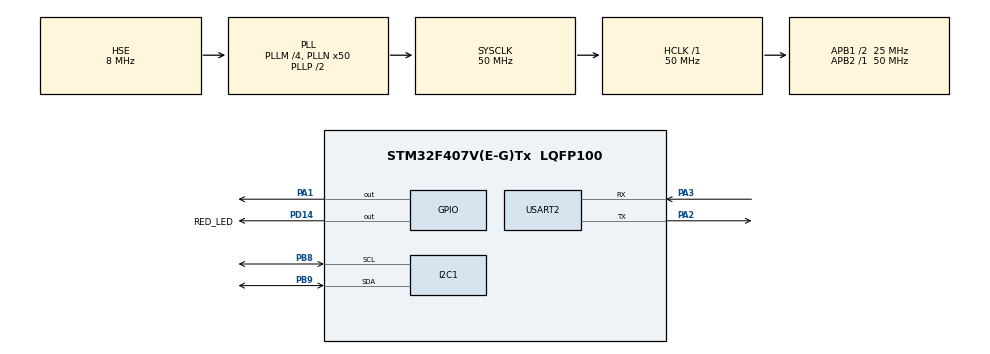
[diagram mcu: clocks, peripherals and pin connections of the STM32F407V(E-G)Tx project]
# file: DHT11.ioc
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Mcu.Family=STM32F4
Mcu.Name=STM32F407V(E-G)Tx
Mcu.Package=LQFP100
NVIC.PriorityGroup=NVIC_PRIORITYGROUP_4
NVIC.TIM7_IRQn=true\:15\:0\:false\:false\:true\:false\:true\:true
NVIC.TimeBase=TIM7_IRQn
NVIC.TimeBaseIP=TIM7
PA1.Signal=GPIO_Output
PA13.Mode=Serial_Wire
PA13.Signal=SYS_JTMS-SWDIO
PA14.Mode=Serial_Wire
PA14.Signal=SYS_JTCK-SWCLK
PA2.Mode=Asynchronous
PA2.Signal=USART2_TX
PA3.Mode=Asynchronous
PA3.Signal=USART2_RX
PB8.Mode=I2C
PB8.Signal=I2C1_SCL
PB9.Mode=I2C
PB9.Signal=I2C1_SDA
PD14.GPIO_Label=RED_LED
PD14.Signal=GPIO_Output
PH0-OSC_IN.Mode=HSE-External-Oscillator
PH0-OSC_IN.Signal=RCC_OSC_IN
PH1-OSC_OUT.Mode=HSE-External-Oscillator
PH1-OSC_OUT.Signal=RCC_OSC_OUT
ProjectManager.HeapSize=0x200
ProjectManager.StackSize=0x400
ProjectManager.TargetToolchain=STM32CubeIDE
RCC.48MHZClocksFreq_Value=25000000
RCC.AHBFreq_Value=50000000
RCC.APB1CLKDivider=RCC_HCLK_DIV2
RCC.APB1Freq_Value=25000000
RCC.APB1TimFreq_Value=50000000
RCC.APB2Freq_Value=50000000
RCC.APB2TimFreq_Value=50000000
RCC.CortexFreq_Value=50000000
RCC.HCLKFreq_Value=50000000
RCC.HSE_VALUE=8000000
RCC.HSI_VALUE=16000000
RCC.LSE_VALUE=32768
RCC.PLLM=4
RCC.PLLN=50
RCC.PLLSourceVirtual=RCC_PLLSOURCE_HSE
RCC.SYSCLKFreq_VALUE=50000000
RCC.SYSCLKSource=RCC_SYSCLKSOURCE_PLLCLK
RCC.VCOOutputFreq_Value=100000000
TIM6.Prescaler=50-1
USART2.VirtualMode=VM_ASYNC
VP_SYS_VS_tim7.Mode=TIM7
VP_TIM6_VS_ClockSourceINT.Mode=Enable_Timer
board=custom

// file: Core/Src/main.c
/* USER CODE BEGIN Header */
/**
  ****************************************************************************
  * @file           : main.c
  * @brief          : Main program body
  ****************************************************************************
  */
/* USER CODE END Header */
#include "main.h"

/* USER CODE BEGIN Includes */
#include "stdio.h"
#include "stm32f4xx_hal.h"
#include "liquidcrystal_i2c.h"
#include "dht11.h"
#include "FreeRTOS.h"
#include "task.h"
#include "semphr.h"
/* USER CODE END Includes */

I2C_HandleTypeDef hi2c1;

TIM_HandleTypeDef htim6;

UART_HandleTypeDef huart2;

/* USER CODE BEGIN PV */
//mutex lock
int g_temp = 0;
int g_humi = 0;
//mutex lock
SemaphoreHandle_t xDataMutex;
DHT11_DataTypedef dht11_data;
uint8_t result, Presence;
/* USER CODE END PV */

void SystemClock_Config(void);
static void MX_GPIO_Init(void);
static void MX_TIM6_Init(void);
static void MX_USART2_UART_Init(void);
static void MX_I2C1_Init(void);
/* USER CODE BEGIN PFP */
void DHT11Task(void *pvParameters);
void LCDTask(void *pvParameters);
void UARTTask(void *pvParameters);
void AlertTask(void *pvParameters);
/* USER CODE END PFP */

/* USER CODE BEGIN 0 */
uint8_t temp_threshold = 30;
uint8_t humi_threshold = 70;
/* USER CODE END 0 */

int main(void)
{

  /* MCU Configuration--------------------------------------------------------*/

  /* Reset of all peripherals, Initializes the Flash interface and the Systick. */
  HAL_Init();

  /* Configure the system clock */
  SystemClock_Config();

  /* Initialize all configured peripherals */
  MX_GPIO_Init();
  MX_TIM6_Init();
  MX_USART2_UART_Init();
  MX_I2C1_Init();
  /* USER CODE BEGIN 2 */
  HAL_TIM_Base_Start(&htim6);

  /* 關鍵修正：確保 UART 完全初始化 */
  HAL_Delay(100);

  /* 初始化 LCD（一次） */
  HD44780_Init(2);
  HD44780_Clear();
  HD44780_Backlight();

  char uart_buf[100];
  char lcd_temp[100];
  char lcd_humi[100];
  char lcd_buf[100];
  int uart_buf_len;

  /* 發送啟動訊息 - 測試 UART 是否正常 */
  uart_buf_len = sprintf(uart_buf, "\r\n=== STM32 DHT11 Started ===\r\n");
  HD44780_SetCursor(0,0);
  HD44780_PrintStr("DHT11 Start");
  HAL_UART_Transmit(&huart2, (uint8_t*)uart_buf, uart_buf_len, HAL_MAX_DELAY);

  /* 關鍵修正：DHT11 初始化序列 */
  uart_buf_len = sprintf(uart_buf, "Initializing DHT11...\r\n");
  HD44780_SetCursor(0,1);
  HD44780_PrintStr("Initializing");
  HAL_UART_Transmit(&huart2, (uint8_t*)uart_buf, uart_buf_len, HAL_MAX_DELAY);

  /* 確保 DHT11 引腳狀態正確 */
  Set_Pin_Output(DHT11_PORT, DHT11_PIN);
  HAL_GPIO_WritePin(DHT11_PORT, DHT11_PIN, 1);  // 確保高電平
  HAL_Delay(1000);  // 等待 DHT11 穩定

  uart_buf_len = sprintf(uart_buf, "DHT11 initialization complete\r\n");
  HAL_UART_Transmit(&huart2, (uint8_t*)uart_buf, uart_buf_len, HAL_MAX_DELAY);

  // 建立互斥鎖
  xDataMutex = xSemaphoreCreateMutex();

  // 建 DHT11Task
  xTaskCreate(DHT11Task, "DHT11", 128, NULL, 2, NULL);
  // 建立 LCDTask
  xTaskCreate(LCDTask, "LCD", 128, NULL, 1, NULL);
  // 建立 UARTTask
  xTaskCreate(UARTTask, "UART", 128, NULL, 1, NULL);
  /* 建立紅燈警示 Task */
  xTaskCreate(AlertTask, "Alert", 128, NULL, 2, NULL);

  vTaskStartScheduler();
  while (1) {}
  /* USER CODE END 2 */

  /* Infinite loop */

}

void SystemClock_Config(void)
{
  RCC_OscInitTypeDef RCC_OscInitStruct = {0};
  RCC_ClkInitTypeDef RCC_ClkInitStruct = {0};

  /** Configure the main internal regulator output voltage
  */
  __HAL_RCC_PWR_CLK_ENABLE();
  __HAL_PWR_VOLTAGESCALING_CONFIG(PWR_REGULATOR_VOLTAGE_SCALE1);

  /** Initializes the RCC Oscillators according to the specified parameters
  * in the RCC_OscInitTypeDef structure.
  */
  RCC_OscInitStruct.OscillatorType = RCC_OSCILLATORTYPE_HSE;
  RCC_OscInitStruct.HSEState = RCC_HSE_ON;
  RCC_OscInitStruct.PLL.PLLState = RCC_PLL_ON;
  RCC_OscInitStruct.PLL.PLLSource = RCC_PLLSOURCE_HSE;
  RCC_OscInitStruct.PLL.PLLM = 4;
  RCC_OscInitStruct.PLL.PLLN = 50;
  RCC_OscInitStruct.PLL.PLLP = RCC_PLLP_DIV2;
  RCC_OscInitStruct.PLL.PLLQ = 4;
  if (HAL_RCC_OscConfig(&RCC_OscInitStruct) != HAL_OK)
  {
    Error_Handler();
  }

  /** Initializes the CPU, AHB and APB buses clocks
  */
  RCC_ClkInitStruct.ClockType = RCC_CLOCKTYPE_HCLK|RCC_CLOCKTYPE_SYSCLK
                              |RCC_CLOCKTYPE_PCLK1|RCC_CLOCKTYPE_PCLK2;
  RCC_ClkInitStruct.SYSCLKSource = RCC_SYSCLKSOURCE_PLLCLK;
  RCC_ClkInitStruct.AHBCLKDivider = RCC_SYSCLK_DIV1;
  RCC_ClkInitStruct.APB1CLKDivider = RCC_HCLK_DIV2;
  RCC_ClkInitStruct.APB2CLKDivider = RCC_HCLK_DIV1;

  if (HAL_RCC_ClockConfig(&RCC_ClkInitStruct, FLASH_LATENCY_1) != HAL_OK)
  {
    Error_Handler();
  }
}

static void MX_I2C1_Init(void)
{

  hi2c1.Instance = I2C1;
  hi2c1.Init.ClockSpeed = 100000;
  hi2c1.Init.DutyCycle = I2C_DUTYCYCLE_2;
  hi2c1.Init.OwnAddress1 = 0;
  hi2c1.Init.AddressingMode = I2C_ADDRESSINGMODE_7BIT;
  hi2c1.Init.DualAddressMode = I2C_DUALADDRESS_DISABLE;
  hi2c1.Init.OwnAddress2 = 0;
  hi2c1.Init.GeneralCallMode = I2C_GENERALCALL_DISABLE;
  hi2c1.Init.NoStretchMode = I2C_NOSTRETCH_DISABLE;
  if (HAL_I2C_Init(&hi2c1) != HAL_OK)
  {
    Error_Handler();
  }

}

static void MX_TIM6_Init(void)
{

  TIM_MasterConfigTypeDef sMasterConfig = {0};

  htim6.Instance = TIM6;
  htim6.Init.Prescaler = 50-1;
  htim6.Init.CounterMode = TIM_COUNTERMODE_UP;
  htim6.Init.Period = 65535;
  htim6.Init.AutoReloadPreload = TIM_AUTORELOAD_PRELOAD_DISABLE;
  if (HAL_TIM_Base_Init(&htim6) != HAL_OK)
  {
    Error_Handler();
  }
  sMasterConfig.MasterOutputTrigger = TIM_TRGO_RESET;
  sMasterConfig.MasterSlaveMode = TIM_MASTERSLAVEMODE_DISABLE;
  if (HAL_TIMEx_MasterConfigSynchronization(&htim6, &sMasterConfig) != HAL_OK)
  {
    Error_Handler();
  }

}

static void MX_USART2_UART_Init(void)
{

  huart2.Instance = USART2;
  huart2.Init.BaudRate = 115200;
  huart2.Init.WordLength = UART_WORDLENGTH_8B;
  huart2.Init.StopBits = UART_STOPBITS_1;
  huart2.Init.Parity = UART_PARITY_NONE;
  huart2.Init.Mode = UART_MODE_TX_RX;
  huart2.Init.HwFlowCtl = UART_HWCONTROL_NONE;
  huart2.Init.OverSampling = UART_OVERSAMPLING_16;
  if (HAL_UART_Init(&huart2) != HAL_OK)
  {
    Error_Handler();
  }

}

static void MX_GPIO_Init(void)
{
  GPIO_InitTypeDef GPIO_InitStruct = {0};

  /* GPIO Ports Clock Enable */
  __HAL_RCC_GPIOH_CLK_ENABLE();
  __HAL_RCC_GPIOA_CLK_ENABLE();
  __HAL_RCC_GPIOD_CLK_ENABLE();
  __HAL_RCC_GPIOB_CLK_ENABLE();

  /*Configure GPIO pin Output Level */
  HAL_GPIO_WritePin(GPIOA, GPIO_PIN_1, GPIO_PIN_RESET);

  /*Configure GPIO pin Output Level */
  HAL_GPIO_WritePin(RED_LED_GPIO_Port, RED_LED_Pin, GPIO_PIN_RESET);

  /*Configure GPIO pin : PA1 */
  GPIO_InitStruct.Pin = GPIO_PIN_1;
  GPIO_InitStruct.Mode = GPIO_MODE_OUTPUT_PP;
  GPIO_InitStruct.Pull = GPIO_NOPULL;
  GPIO_InitStruct.Speed = GPIO_SPEED_FREQ_LOW;
  HAL_GPIO_Init(GPIOA, &GPIO_InitStruct);

  /*Configure GPIO pin : RED_LED_Pin */
  GPIO_InitStruct.Pin = RED_LED_Pin;
  GPIO_InitStruct.Mode = GPIO_MODE_OUTPUT_PP;
  GPIO_InitStruct.Pull = GPIO_NOPULL;
  GPIO_InitStruct.Speed = GPIO_SPEED_FREQ_LOW;
  HAL_GPIO_Init(RED_LED_GPIO_Port, &GPIO_InitStruct);

}

/* USER CODE BEGIN 4 */
void DHT11Task(void *pvParameters)
{
    int error_count = 0;
    for (;;)
    {
        // 1. 讀取 DHT11
        result = DHT11_Read_Data(&dht11_data);

        // 2. 如果讀取成功，就更新全域變數（要先拿鎖）
        if (result == DHT11_OK)
        {
            xSemaphoreTake(xDataMutex, portMAX_DELAY);
            g_temp = dht11_data.temperature_int;
            g_humi = dht11_data.humidity_int;
            xSemaphoreGive(xDataMutex);
            error_count = 0;  // 重置錯誤計數
        }
        else
        {
            error_count++;
            // 3. 若連續錯誤超過 5 次，可加上重新初始化動作
            if (error_count >= 5)
            {
                Set_Pin_Output(DHT11_PORT, DHT11_PIN);
                HAL_GPIO_WritePin(DHT11_PORT, DHT11_PIN, GPIO_PIN_SET);
                HAL_Delay(500);
                error_count = 0;
            }
        }

        // 4. 等待 2000 ms 再做下一次
        vTaskDelay(pdMS_TO_TICKS(2000));
    }
}

void LCDTask(void *pvParameters)
{
    // 把 buf 放大一点，留足空间
    char buf1[20], buf2[20];
    for (;;)
    {
        int t = g_temp;
        int h = g_humi;

        // 第一行：温度
        HD44780_SetCursor(0, 0);
        snprintf(buf1, sizeof(buf1), "Temp:%3d C       ", t);
        HD44780_PrintStr(buf1);

        // 第二行：先清空，再湿度
        HD44780_SetCursor(0, 1);
        HD44780_PrintStr("                ");  // 16 个空格，清除上一行残影
        HD44780_SetCursor(0, 1);
        snprintf(buf2, sizeof(buf2), "Humi:%3d %%     ", h);
        HD44780_PrintStr(buf2);

        vTaskDelay(pdMS_TO_TICKS(1000));
    }
}

void UARTTask(void *pvParameters)
{
    char buf[64];
    for (;;)
    {
        // 1) 從互斥鎖保護的全域變數取最新值
        xSemaphoreTake(xDataMutex, portMAX_DELAY);
        int t = g_temp;
        int h = g_humi;
        xSemaphoreGive(xDataMutex);

        // 2) 格式化到緩衝區
        int len = sprintf(buf, "Temp:%d C, Humi:%d%%\r\n", t, h);

        // 3) 串口傳輸
        HAL_UART_Transmit(&huart2, (uint8_t*)buf, len, HAL_MAX_DELAY);

        // 4) 1 秒後再做一次
        vTaskDelay(pdMS_TO_TICKS(1000));
    }
}

void AlertTask(void *pvParameters)
{
//	char dbg[64];
    for (;;)
    {
        xSemaphoreTake(xDataMutex, portMAX_DELAY);
        int t = g_temp;
        int h = g_humi;
        xSemaphoreGive(xDataMutex);

        // 改用已宣告的變數
        if (t > temp_threshold || h > humi_threshold){
            HAL_GPIO_WritePin(GPIOD, GPIO_PIN_14, GPIO_PIN_SET);
//            int len = sprintf(dbg, "ALERT ON! T:%d H:%d\\r\\n", t, h);
//            HAL_UART_Transmit(&huart2, (uint8_t*)dbg, len, HAL_MAX_DELAY);
        }
        else
            HAL_GPIO_WritePin(GPIOD, GPIO_PIN_14, GPIO_PIN_RESET);

        vTaskDelay(pdMS_TO_TICKS(1000));
    }
}
/* USER CODE END 4 */

void HAL_TIM_PeriodElapsedCallback(TIM_HandleTypeDef *htim)
{
  if (htim->Instance == TIM7) {
    HAL_IncTick();
  }
}

void Error_Handler(void)
{
    __disable_irq();
    while (1)
    {
    }
}
